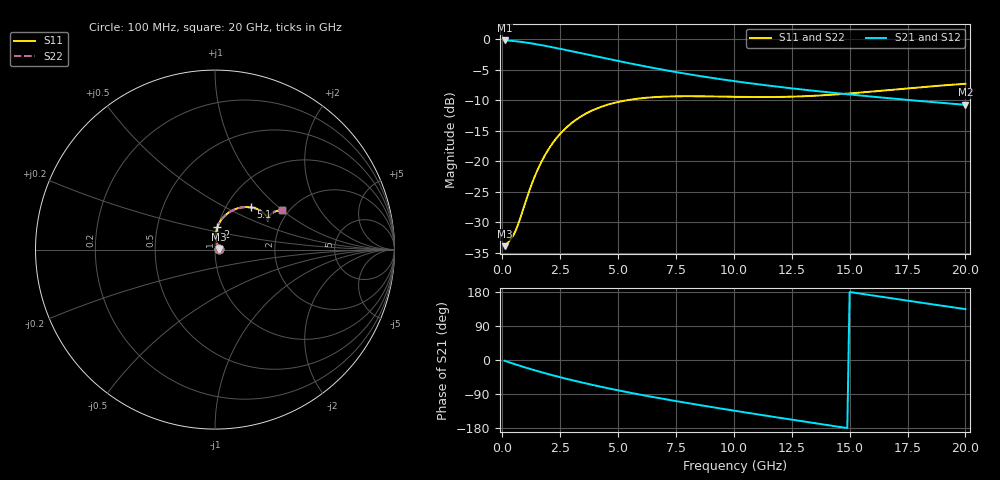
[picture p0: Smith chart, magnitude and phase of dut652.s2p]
! Touchstone file exported from HFSS 2024.1.0
!  File:  C:/UserFiles/LocalFiles/RDL_TSV_Batchsim/temp_RDL_TSV_652_1779809742.aedt
!  Generated:  11:49:42 PM May 26, 2026
!  Design:  RDL_TSV
!  Project:  temp_RDL_TSV_652_1779809742
!  Setup:  Setup1
!  Solution:  Sweep
! Variables:
!  dtsv = 14.42um
!  hbump = 3um
!  htsv = 60.77um
!  ldown = 220.41um
!  lrdl = 656.9um
!  p = 40
!  p1 = 54.93um
!  rhole = 10um
!  subl = 3288.83um
!  t = 450um
!  tdown = 3.4um
!  trdl = 3.68um
!  viad = 10um
!  wdown = 26.95um
!  wrdl = 14.63um
!  xbump = 18um
# GHz S MA R 50.000000
! Terminal data exported
! Port[1] = TM1_1_T1
! Port[2] = TM1_4_T1
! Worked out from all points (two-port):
!   200 points, 100 MHz to 20 GHz, reference 50 ohm
!   highest |S21| = -0.18 dB at 100 MHz (marker M1); lowest = -10.7 dB at 20 GHz (marker M2)
!   |S21| within 3 dB of the highest: start of sweep to 4.543 GHz
!   lowest |S11| = -33.9 dB at 100 MHz (marker M3), VSWR 1.04, Z = 52 + j0.41 ohm
!   |S11| at or under -10 dB: start of sweep to 5.357 GHz
!   |S22| runs from -33.9 to -7.3 dB; largest |S21 - S12| = 2.6e-14
!   S11 on the Smith chart (normalised r, x): 100 MHz: 1.04, +0.01; 2 GHz: 0.99, +0.25; 5.1 GHz: 1.30, +0.68; 20 GHz: 1.84, +0.99
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0.1  0.02016 11.3  0.9796 -2.1  0.9796 -2.1  0.02016 11.3
! Gamma 0 0 0 0
! Port Impedance 50 0 50 0
0.4  0.02346 39.0  0.9723 -8.2  0.9723 -8.2  0.02347 39.0
0.6  0.02767 56.6  0.9645 -12.2  0.9645 -12.2  0.02767 56.6
1  0.04616 79.9  0.9435 -19.9  0.9435 -19.9  0.04613 79.8
1.4  0.07502 86.6  0.9174 -27.2  0.9174 -27.2  0.07496 86.5
1.7  0.1 86.3  0.896 -32.5  0.896 -32.5  0.0999 86.2
2  0.1259 84.0  0.8738 -37.5  0.8738 -37.5  0.1258 83.9
2.3  0.1516 80.8  0.8515 -42.3  0.8515 -42.3  0.1514 80.7
2.7  0.1841 75.9  0.8217 -48.5  0.8217 -48.5  0.1838 75.8
3.5  0.2397 66.0  0.7637 -60.3  0.7637 -60.3  0.2392 65.9
4.2  0.2767 58.1  0.7158 -69.8  0.7158 -69.8  0.2761 58.1
5.1  0.3095 49.6  0.6593 -81.3  0.6593 -81.3  0.3088 49.5
5.9  0.3273 43.4  0.6144 -90.8  0.6144 -90.8  0.3265 43.4
6.8  0.338 38.0  0.57 -100.9  0.57 -100.9  0.3371 38.0
8.4  0.3418 31.7  0.5052 -117.7  0.5052 -117.7  0.3407 31.7
10.1  0.3379 29.0  0.4523 -134.6  0.4523 -134.6  0.3367 29.1
11.7  0.3368 29.1  0.4133 -149.9  0.4133 -149.9  0.3356 29.2
13.4  0.3442 30.5  0.3798 -165.8  0.3798 -165.8  0.3432 30.7
15  0.3603 31.9  0.3534 179.4  0.3534 179.4  0.3596 32.1
16.7  0.3841 32.4  0.3292 163.8  0.3292 163.8  0.3837 32.7
18.4  0.41 31.8  0.3081 148.5  0.3081 148.5  0.4099 32.1
20  0.4324 30.4  0.2907 134.2  0.2907 134.2  0.4326 30.6
